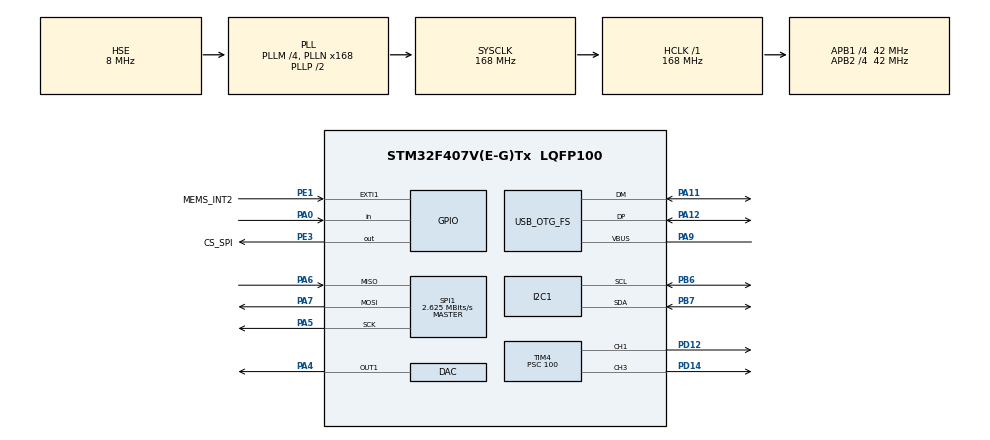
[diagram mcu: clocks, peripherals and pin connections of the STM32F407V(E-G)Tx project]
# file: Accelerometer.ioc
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DAC.DAC_Trigger=DAC_TRIGGER_NONE
Mcu.Family=STM32F4
Mcu.Name=STM32F407V(E-G)Tx
Mcu.Package=LQFP100
NVIC.EXTI1_IRQn=true\:0\:0\:false\:false\:true\:true\:true\:true
NVIC.OTG_FS_IRQn=true\:0\:0\:false\:false\:true\:true\:true\:true
NVIC.PriorityGroup=NVIC_PRIORITYGROUP_0
NVIC.TIM2_IRQn=true\:0\:0\:false\:false\:true\:true\:true\:true
NVIC.TIM6_DAC_IRQn=true\:0\:0\:false\:false\:true\:true\:true\:true
PA0-WKUP.Signal=GPIO_Input
PA11.Mode=Device_Only
PA11.Signal=USB_OTG_FS_DM
PA12.Mode=Device_Only
PA12.Signal=USB_OTG_FS_DP
PA13.Mode=Serial_Wire
PA13.Signal=SYS_JTMS-SWDIO
PA14.Mode=Serial_Wire
PA14.Signal=SYS_JTCK-SWCLK
PA4.Signal=COMP_DAC1_group
PA5.Mode=Full_Duplex_Master
PA5.Signal=SPI1_SCK
PA6.Mode=Full_Duplex_Master
PA6.Signal=SPI1_MISO
PA7.Mode=Full_Duplex_Master
PA7.Signal=SPI1_MOSI
PA9.Mode=Activate_VBUS
PA9.Signal=USB_OTG_FS_VBUS
PB6.Mode=I2C
PB6.Signal=I2C1_SCL
PB7.Mode=I2C
PB7.Signal=I2C1_SDA
PC14-OSC32_IN.Mode=LSE-External-Oscillator
PC14-OSC32_IN.Signal=RCC_OSC32_IN
PC15-OSC32_OUT.Mode=LSE-External-Oscillator
PC15-OSC32_OUT.Signal=RCC_OSC32_OUT
PD12.Signal=S_TIM4_CH1
PD14.Signal=S_TIM4_CH3
PE1.GPIO_Label=MEMS_INT2
PE1.Signal=GPXTI1
PE3.GPIO_Label=CS_SPI
PE3.Signal=GPIO_Output
PH0-OSC_IN.Mode=HSE-External-Oscillator
PH0-OSC_IN.Signal=RCC_OSC_IN
PH1-OSC_OUT.Mode=HSE-External-Oscillator
PH1-OSC_OUT.Signal=RCC_OSC_OUT
ProjectManager.HeapSize=0x400
ProjectManager.StackSize=0x400
ProjectManager.TargetToolchain=STM32CubeIDE
RCC.48MHZClocksFreq_Value=48000000
RCC.AHBFreq_Value=168000000
RCC.APB1CLKDivider=RCC_HCLK_DIV4
RCC.APB1Freq_Value=42000000
RCC.APB1TimFreq_Value=84000000
RCC.APB2CLKDivider=RCC_HCLK_DIV4
RCC.APB2Freq_Value=42000000
RCC.APB2TimFreq_Value=84000000
RCC.CortexFreq_Value=168000000
RCC.HCLKFreq_Value=168000000
RCC.HSE_VALUE=8000000
RCC.HSI_VALUE=16000000
RCC.PLLM=4
RCC.PLLN=168
RCC.PLLQ=7
RCC.SYSCLKFreq_VALUE=168000000
RCC.SYSCLKSource=RCC_SYSCLKSOURCE_PLLCLK
RCC.VCOOutputFreq_Value=336000000
SH.COMP_DAC1_group.0=DAC_OUT1,DAC_OUT1
SH.S_TIM4_CH1.0=TIM4_CH1,PWM Generation1 CH1
SH.S_TIM4_CH3.0=TIM4_CH3,PWM Generation3 CH3
SPI1.BaudRatePrescaler=SPI_BAUDRATEPRESCALER_16
SPI1.CalculateBaudRate=2.625 MBits/s
SPI1.Direction=SPI_DIRECTION_2LINES
SPI1.Mode=SPI_MODE_MASTER
SPI1.VirtualType=VM_MASTER
TIM2.AutoReloadPreload=TIM_AUTORELOAD_PRELOAD_ENABLE
TIM2.Period=839
TIM2.Prescaler=100
TIM2.TIM_MasterOutputTrigger=TIM_TRGO_RESET
TIM4.Channel-PWM\ Generation1\ CH1=TIM_CHANNEL_1
TIM4.Channel-PWM\ Generation3\ CH3=TIM_CHANNEL_3
TIM4.Period=90
TIM4.Prescaler=100
TIM6.Period=20000
TIM6.Prescaler=83
USB_DEVICE.CLASS_NAME_FS=CDC
USB_DEVICE.VirtualMode-CDC_FS=Cdc
USB_DEVICE.VirtualModeFS=Cdc_FS
USB_OTG_FS.VirtualMode=Device_Only
VP_TIM2_VS_ClockSourceINT.Mode=Internal
VP_TIM4_VS_ClockSourceINT.Mode=Internal
VP_TIM6_VS_ClockSourceINT.Mode=Enable_Timer
VP_USB_DEVICE_VS_USB_DEVICE_CDC_FS.Mode=CDC_FS
board=STM32F407G-DISC1

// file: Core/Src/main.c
/* USER CODE BEGIN Header */
/**
  ******************************************************************************
  * @file           : main.c
  * @brief          : Main program body
  ******************************************************************************
  * @attention
  *
  * Copyright (c) 2023 STMicroelectronics.
  * All rights reserved.
  *
  * This software is licensed under terms that can be found in the LICENSE file
  * in the root directory of this software component.
  * If no LICENSE file comes with this software, it is provided AS-IS.
  *
  ******************************************************************************
  */
/* USER CODE END Header */
#include "main.h"
#include "usb_device.h"

/* USER CODE BEGIN Includes */
#include <math.h>
#include "usb_device.h"
#include "usbd_cdc_if.h"

/* USER CODE END Includes */

/* USER CODE BEGIN PM */
int16_t xData, yData, zData;
int8_t rollpitcharr[2];
uint16_t  uwAmpDACValue = 4095;
/* USER CODE END PM */

DAC_HandleTypeDef hdac;

I2C_HandleTypeDef hi2c1;

SPI_HandleTypeDef hspi1;

TIM_HandleTypeDef htim2;
TIM_HandleTypeDef htim4;
TIM_HandleTypeDef htim6;

void SystemClock_Config(void);
static void MX_GPIO_Init(void);
static void MX_SPI1_Init(void);
static void MX_TIM4_Init(void);
static void MX_TIM6_Init(void);
static void MX_DAC_Init(void);
static void MX_I2C1_Init(void);
static void MX_TIM2_Init(void);
/* USER CODE BEGIN PFP */
void HAL_TIM_PeriodElapsedCallback(TIM_HandleTypeDef *htim){
	static int i =0;
	if (htim == &htim6){
		CDC_Transmit_FS(rollpitcharr, sizeof(rollpitcharr));
	}else if (htim == &htim2){
		uint16_t val = (uint16_t) uwAmpDACValue / 2 * (sin(i * 2 * 3.1415926 / 100) + 1);
		HAL_DAC_SetValue(&hdac, DAC_CHANNEL_1, DAC_ALIGN_12B_R, val);
		i++;
		if(i>100)i=0;
	}
}
/* USER CODE END PFP */

/* USER CODE BEGIN 0 */
uint8_t SPIx_WriteRead(uint8_t byte);
void ACCELERO_IO_Read(uint8_t* pBuffer, uint8_t writeAddress, uint16_t numBytesToRead);
void ACCELERO_Init(void);
void ACCELERO_GetXYZ(int16_t* xData, int16_t* yData, int16_t* zData);

uint16_t uwDataArray[100];
double Map(double dblSrcValue, double dblSrcMin, double dblSrcMax, double dblDestMin, double dblDestMax);
/* USER CODE END 0 */

int main(void)
{
  /* USER CODE BEGIN 1 */
  #define PI     3.1415926
  uint16_t  uwFreq = 839;

  //unsigned char ucChickenInvadersGameCmdBuf[2];

  /* USER CODE END 1 */

  /* MCU Configuration--------------------------------------------------------*/

  /* Reset of all peripherals, Initializes the Flash interface and the Systick. */
  HAL_Init();

  /* Configure the system clock */
  SystemClock_Config();

  /* Initialize all configured peripherals */
  MX_GPIO_Init();
  MX_SPI1_Init();
  MX_TIM4_Init();
  MX_TIM6_Init();
  MX_DAC_Init();
  MX_I2C1_Init();
  MX_TIM2_Init();
  MX_USB_DEVICE_Init();
  /* USER CODE BEGIN 2 */
  ACCELERO_Init();
  HAL_TIM_PWM_Start(&htim4, TIM_CHANNEL_1);
  HAL_TIM_PWM_Start(&htim4, TIM_CHANNEL_3);
  HAL_TIM_Base_Start_IT(&htim6);
  HAL_TIM_Base_Start_IT(&htim2);
  HAL_DAC_Start(&hdac, DAC_CHANNEL_1);
  /* USER CODE END 2 */

  /* Infinite loop */
  /* USER CODE BEGIN WHILE */
  while (1)
  {
	ACCELERO_GetXYZ(&xData, &yData, &zData);
	rollpitcharr[0] = 180 * atan2(xData, sqrt(yData*zData + zData*zData))/PI;
	rollpitcharr[1] = 180 * atan2(yData, sqrt(xData*xData + zData*zData))/PI;

	htim4.Instance->CCR1 = abs(rollpitcharr[0]);
	htim4.Instance->CCR3 = abs(rollpitcharr[1]);
    /* USER CODE END WHILE */

    /* USER CODE BEGIN 3 */

	// Amplitude of sin wave
	uwAmpDACValue = Map(rollpitcharr[0], -90, 90, 0, 4095);
	// Frequency of sin wave
	uwFreq = Map(rollpitcharr[1], -90, 90, 1, 8399);

	// Change the frequency of the sin wave
	TIM2->ARR = uwFreq;

  }
  #undef PI
  /* USER CODE END 3 */
}

void SystemClock_Config(void)
{
  RCC_OscInitTypeDef RCC_OscInitStruct = {0};
  RCC_ClkInitTypeDef RCC_ClkInitStruct = {0};

  /** Configure the main internal regulator output voltage
  */
  __HAL_RCC_PWR_CLK_ENABLE();
  __HAL_PWR_VOLTAGESCALING_CONFIG(PWR_REGULATOR_VOLTAGE_SCALE1);

  /** Initializes the RCC Oscillators according to the specified parameters
  * in the RCC_OscInitTypeDef structure.
  */
  RCC_OscInitStruct.OscillatorType = RCC_OSCILLATORTYPE_HSE;
  RCC_OscInitStruct.HSEState = RCC_HSE_ON;
  RCC_OscInitStruct.PLL.PLLState = RCC_PLL_ON;
  RCC_OscInitStruct.PLL.PLLSource = RCC_PLLSOURCE_HSE;
  RCC_OscInitStruct.PLL.PLLM = 4;
  RCC_OscInitStruct.PLL.PLLN = 168;
  RCC_OscInitStruct.PLL.PLLP = RCC_PLLP_DIV2;
  RCC_OscInitStruct.PLL.PLLQ = 7;
  if (HAL_RCC_OscConfig(&RCC_OscInitStruct) != HAL_OK)
  {
    Error_Handler();
  }

  /** Initializes the CPU, AHB and APB buses clocks
  */
  RCC_ClkInitStruct.ClockType = RCC_CLOCKTYPE_HCLK|RCC_CLOCKTYPE_SYSCLK
                              |RCC_CLOCKTYPE_PCLK1|RCC_CLOCKTYPE_PCLK2;
  RCC_ClkInitStruct.SYSCLKSource = RCC_SYSCLKSOURCE_PLLCLK;
  RCC_ClkInitStruct.AHBCLKDivider = RCC_SYSCLK_DIV1;
  RCC_ClkInitStruct.APB1CLKDivider = RCC_HCLK_DIV4;
  RCC_ClkInitStruct.APB2CLKDivider = RCC_HCLK_DIV4;

  if (HAL_RCC_ClockConfig(&RCC_ClkInitStruct, FLASH_LATENCY_5) != HAL_OK)
  {
    Error_Handler();
  }
}

static void MX_DAC_Init(void)
{

  DAC_ChannelConfTypeDef sConfig = {0};

  /** DAC Initialization
  */
  hdac.Instance = DAC;
  if (HAL_DAC_Init(&hdac) != HAL_OK)
  {
    Error_Handler();
  }

  /** DAC channel OUT1 config
  */
  sConfig.DAC_Trigger = DAC_TRIGGER_NONE;
  sConfig.DAC_OutputBuffer = DAC_OUTPUTBUFFER_ENABLE;
  if (HAL_DAC_ConfigChannel(&hdac, &sConfig, DAC_CHANNEL_1) != HAL_OK)
  {
    Error_Handler();
  }

}

static void MX_I2C1_Init(void)
{

  hi2c1.Instance = I2C1;
  hi2c1.Init.ClockSpeed = 100000;
  hi2c1.Init.DutyCycle = I2C_DUTYCYCLE_2;
  hi2c1.Init.OwnAddress1 = 0;
  hi2c1.Init.AddressingMode = I2C_ADDRESSINGMODE_7BIT;
  hi2c1.Init.DualAddressMode = I2C_DUALADDRESS_DISABLE;
  hi2c1.Init.OwnAddress2 = 0;
  hi2c1.Init.GeneralCallMode = I2C_GENERALCALL_DISABLE;
  hi2c1.Init.NoStretchMode = I2C_NOSTRETCH_DISABLE;
  if (HAL_I2C_Init(&hi2c1) != HAL_OK)
  {
    Error_Handler();
  }

}

static void MX_SPI1_Init(void)
{

  /* SPI1 parameter configuration*/
  hspi1.Instance = SPI1;
  hspi1.Init.Mode = SPI_MODE_MASTER;
  hspi1.Init.Direction = SPI_DIRECTION_2LINES;
  hspi1.Init.DataSize = SPI_DATASIZE_8BIT;
  hspi1.Init.CLKPolarity = SPI_POLARITY_LOW;
  hspi1.Init.CLKPhase = SPI_PHASE_1EDGE;
  hspi1.Init.NSS = SPI_NSS_SOFT;
  hspi1.Init.BaudRatePrescaler = SPI_BAUDRATEPRESCALER_16;
  hspi1.Init.FirstBit = SPI_FIRSTBIT_MSB;
  hspi1.Init.TIMode = SPI_TIMODE_DISABLE;
  hspi1.Init.CRCCalculation = SPI_CRCCALCULATION_DISABLE;
  hspi1.Init.CRCPolynomial = 10;
  if (HAL_SPI_Init(&hspi1) != HAL_OK)
  {
    Error_Handler();
  }

}

static void MX_TIM2_Init(void)
{

  TIM_ClockConfigTypeDef sClockSourceConfig = {0};
  TIM_MasterConfigTypeDef sMasterConfig = {0};

  htim2.Instance = TIM2;
  htim2.Init.Prescaler = 100;
  htim2.Init.CounterMode = TIM_COUNTERMODE_UP;
  htim2.Init.Period = 839;
  htim2.Init.ClockDivision = TIM_CLOCKDIVISION_DIV1;
  htim2.Init.AutoReloadPreload = TIM_AUTORELOAD_PRELOAD_ENABLE;
  if (HAL_TIM_Base_Init(&htim2) != HAL_OK)
  {
    Error_Handler();
  }
  sClockSourceConfig.ClockSource = TIM_CLOCKSOURCE_INTERNAL;
  if (HAL_TIM_ConfigClockSource(&htim2, &sClockSourceConfig) != HAL_OK)
  {
    Error_Handler();
  }
  sMasterConfig.MasterOutputTrigger = TIM_TRGO_RESET;
  sMasterConfig.MasterSlaveMode = TIM_MASTERSLAVEMODE_DISABLE;
  if (HAL_TIMEx_MasterConfigSynchronization(&htim2, &sMasterConfig) != HAL_OK)
  {
    Error_Handler();
  }

}

static void MX_TIM4_Init(void)
{

  TIM_ClockConfigTypeDef sClockSourceConfig = {0};
  TIM_MasterConfigTypeDef sMasterConfig = {0};
  TIM_OC_InitTypeDef sConfigOC = {0};

  htim4.Instance = TIM4;
  htim4.Init.Prescaler = 100;
  htim4.Init.CounterMode = TIM_COUNTERMODE_UP;
  htim4.Init.Period = 90;
  htim4.Init.ClockDivision = TIM_CLOCKDIVISION_DIV1;
  htim4.Init.AutoReloadPreload = TIM_AUTORELOAD_PRELOAD_DISABLE;
  if (HAL_TIM_Base_Init(&htim4) != HAL_OK)
  {
    Error_Handler();
  }
  sClockSourceConfig.ClockSource = TIM_CLOCKSOURCE_INTERNAL;
  if (HAL_TIM_ConfigClockSource(&htim4, &sClockSourceConfig) != HAL_OK)
  {
    Error_Handler();
  }
  if (HAL_TIM_PWM_Init(&htim4) != HAL_OK)
  {
    Error_Handler();
  }
  sMasterConfig.MasterOutputTrigger = TIM_TRGO_RESET;
  sMasterConfig.MasterSlaveMode = TIM_MASTERSLAVEMODE_DISABLE;
  if (HAL_TIMEx_MasterConfigSynchronization(&htim4, &sMasterConfig) != HAL_OK)
  {
    Error_Handler();
  }
  sConfigOC.OCMode = TIM_OCMODE_PWM1;
  sConfigOC.Pulse = 0;
  sConfigOC.OCPolarity = TIM_OCPOLARITY_HIGH;
  sConfigOC.OCFastMode = TIM_OCFAST_DISABLE;
  if (HAL_TIM_PWM_ConfigChannel(&htim4, &sConfigOC, TIM_CHANNEL_1) != HAL_OK)
  {
    Error_Handler();
  }
  if (HAL_TIM_PWM_ConfigChannel(&htim4, &sConfigOC, TIM_CHANNEL_3) != HAL_OK)
  {
    Error_Handler();
  }
  HAL_TIM_MspPostInit(&htim4);

}

static void MX_TIM6_Init(void)
{

  TIM_MasterConfigTypeDef sMasterConfig = {0};

  htim6.Instance = TIM6;
  htim6.Init.Prescaler = 83;
  htim6.Init.CounterMode = TIM_COUNTERMODE_UP;
  htim6.Init.Period = 20000;
  htim6.Init.AutoReloadPreload = TIM_AUTORELOAD_PRELOAD_DISABLE;
  if (HAL_TIM_Base_Init(&htim6) != HAL_OK)
  {
    Error_Handler();
  }
  sMasterConfig.MasterOutputTrigger = TIM_TRGO_RESET;
  sMasterConfig.MasterSlaveMode = TIM_MASTERSLAVEMODE_DISABLE;
  if (HAL_TIMEx_MasterConfigSynchronization(&htim6, &sMasterConfig) != HAL_OK)
  {
    Error_Handler();
  }

}

static void MX_GPIO_Init(void)
{
  GPIO_InitTypeDef GPIO_InitStruct = {0};

  /* GPIO Ports Clock Enable */
  __HAL_RCC_GPIOE_CLK_ENABLE();
  __HAL_RCC_GPIOC_CLK_ENABLE();
  __HAL_RCC_GPIOH_CLK_ENABLE();
  __HAL_RCC_GPIOA_CLK_ENABLE();
  __HAL_RCC_GPIOD_CLK_ENABLE();
  __HAL_RCC_GPIOB_CLK_ENABLE();

  /*Configure GPIO pin Output Level */
  HAL_GPIO_WritePin(CS_SPI_GPIO_Port, CS_SPI_Pin, GPIO_PIN_RESET);

  /*Configure GPIO pin : CS_SPI_Pin */
  GPIO_InitStruct.Pin = CS_SPI_Pin;
  GPIO_InitStruct.Mode = GPIO_MODE_OUTPUT_PP;
  GPIO_InitStruct.Pull = GPIO_NOPULL;
  GPIO_InitStruct.Speed = GPIO_SPEED_FREQ_LOW;
  HAL_GPIO_Init(CS_SPI_GPIO_Port, &GPIO_InitStruct);

  /*Configure GPIO pin : PA0 */
  GPIO_InitStruct.Pin = GPIO_PIN_0;
  GPIO_InitStruct.Mode = GPIO_MODE_INPUT;
  GPIO_InitStruct.Pull = GPIO_NOPULL;
  HAL_GPIO_Init(GPIOA, &GPIO_InitStruct);

  /*Configure GPIO pin : MEMS_INT2_Pin */
  GPIO_InitStruct.Pin = MEMS_INT2_Pin;
  GPIO_InitStruct.Mode = GPIO_MODE_IT_RISING;
  GPIO_InitStruct.Pull = GPIO_NOPULL;
  HAL_GPIO_Init(MEMS_INT2_GPIO_Port, &GPIO_InitStruct);

  /* EXTI interrupt init*/
  HAL_NVIC_SetPriority(EXTI1_IRQn, 0, 0);
  HAL_NVIC_EnableIRQ(EXTI1_IRQn);

}

/* USER CODE BEGIN 4 */
uint8_t SPIx_WriteRead(uint8_t data)
{
	uint8_t receivedData;
	if(HAL_SPI_TransmitReceive(&hspi1, &data, &receivedData, 1, 10) != HAL_OK)
	{
		HAL_SPI_DeInit(&hspi1);
		Error_Handler();
	}

	return receivedData;
}

void ACCELERO_IO_Read(uint8_t* pBuffer, uint8_t readAddress, uint16_t numBytesToRead)
{
	if(numBytesToRead > 1)
	{
		readAddress |= (uint8_t)(READWRITE_CMD | MULTIPLEBYTE_CMD);
	}
	else
	{
		readAddress |= (uint8_t)READWRITE_CMD;
	}

	HAL_GPIO_WritePin(CS_SPI_GPIO_Port, CS_SPI_Pin, GPIO_PIN_RESET);

	SPIx_WriteRead(readAddress);

	while(numBytesToRead > 0)

	{
		*pBuffer = SPIx_WriteRead(DUMMY_BYTE);
		numBytesToRead--;
		pBuffer++;
	}

	HAL_GPIO_WritePin(CS_SPI_GPIO_Port, CS_SPI_Pin, GPIO_PIN_SET);
}

void ACCELERO_Init(void)
{
	uint8_t response;

	uint8_t configData[2];

	ACCELERO_IO_Read(&response, 0x0F, 1);
	if(response != 0x3F)
	{
		return;
	}

	configData[0] = CTRL_REG_4;
	configData[1] = 0x67;

	HAL_GPIO_WritePin(CS_SPI_GPIO_Port, CS_SPI_Pin, GPIO_PIN_RESET);
//	SPIx_WriteRead(configData[0]);
//	SPIx_WriteRead(configData[1]);
	HAL_SPI_Transmit(&hspi1, configData, 2, HAL_MAX_DELAY);
	HAL_GPIO_WritePin(CS_SPI_GPIO_Port, CS_SPI_Pin, GPIO_PIN_SET);

}

//uint8_t* ACCELERO_GetXYZ()
void ACCELERO_GetXYZ(int16_t* xData, int16_t* yData, int16_t* zData)
{
	uint8_t result[6];
	ACCELERO_IO_Read(&result[0], OUT_X_L, 1);
	ACCELERO_IO_Read(&result[1], OUT_X_H, 1);
	ACCELERO_IO_Read(&result[2], OUT_Y_L, 1);
	ACCELERO_IO_Read(&result[3], OUT_Y_H, 1);
	ACCELERO_IO_Read(&result[4], OUT_Z_L, 1);
	ACCELERO_IO_Read(&result[5], OUT_Z_H, 1);

	*xData = (int16_t)((result[1] << 8) | result[0]);
	*yData = (int16_t)((result[3] << 8) | result[2]);
	*zData = (int16_t)((result[5] << 8) | result[4]);
}

// Map function
double Map(double dblSrcValue, double dblSrcMin, double dblSrcMax, double dblDestMin, double dblDestMax)
{
	double dblX1 = 0.000;
	double dblY1 = 0.000;
	double dblX2 = 0.000;
	double dblY2 = 0.000;
	double dblK = 0.000;
	double dblB = 0.000;
	double dblY = 0.000;

	dblX1 = dblSrcMin;
	dblY1 = dblDestMin;
	dblX2 = dblSrcMax;
	dblY2 = dblDestMax;

	// K = （y2-y1) / (x2-x1)
	dblK = (dblY2 - dblY1) / (dblX2 - dblX1);
	// y = kx + b
	// b = y-kx
	dblB = dblY2 - dblK * dblX2;

	dblY = dblK * dblSrcValue + dblB;

	return dblY;
}

/* USER CODE END 4 */

void Error_Handler(void)
{
  __disable_irq();
  while (1)
  {
  }
}
